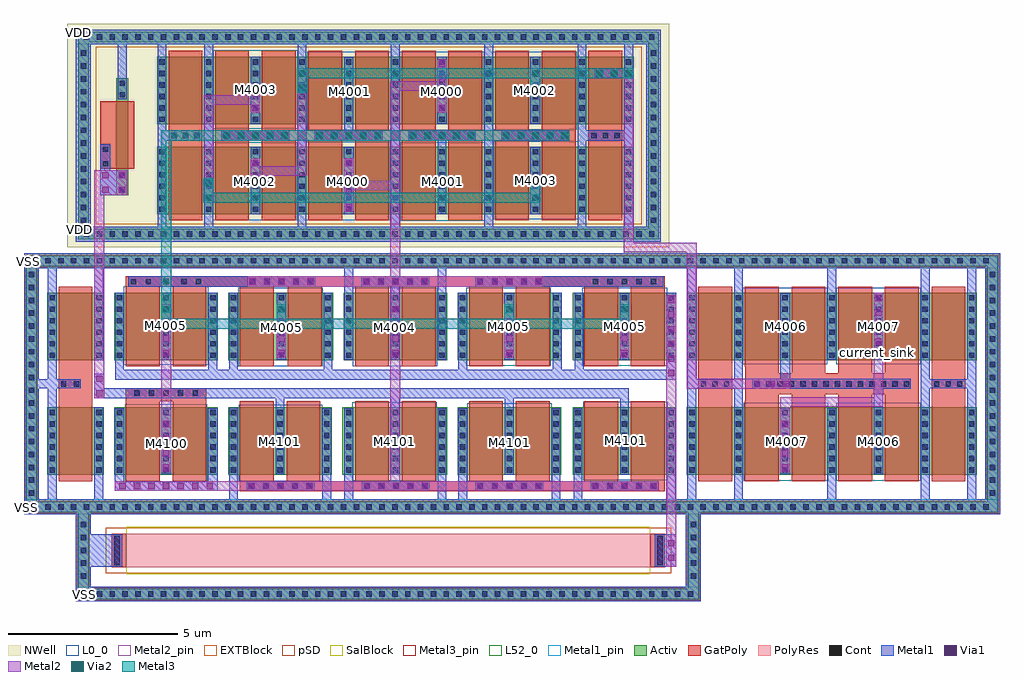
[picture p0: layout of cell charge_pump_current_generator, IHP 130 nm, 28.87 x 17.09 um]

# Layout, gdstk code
from math import pi, radians
import gdstk
lib = gdstk.Library(unit=1e-6, precision=1e-09)
def R(c, l, rs):  # rectangles x0, y0, x1, y1
    for r in rs: c.add(gdstk.rectangle(r[:2], r[2:], *l))
def A(c, l, x, y, w, h, nx, ny, dx, dy):  # array of equal rectangles
    R(c, l, [(x+i*dx, y+j*dy, x+i*dx+w, y+j*dy+h) for i in range(nx) for j in range(ny)])
def P(c, l, *ps):  # polygons
    for p in ps: c.add(gdstk.Polygon(p, *l))
L0_0 = (0, 0)
Activ = (1, 0)
GatPoly = (5, 0)
Cont = (6, 0)
Metal1 = (8, 0)
Metal1_pin = (8, 2)
Metal2 = (10, 0)
Metal2_pin = (10, 2)
pSD = (14, 0)
Via1 = (19, 0)
SalBlock = (28, 0)
Via2 = (29, 0)
Metal3 = (30, 0)
Metal3_pin = (30, 2)
NWell = (31, 0)
L52_0 = (52, 0)
EXTBlock = (111, 0)
PolyRes = (128, 0)

rppd_2 = lib.new_cell('rppd$2')
R(rppd_2, GatPoly, [(0,-0.43,1,-0.2), (0,-0.2,1,0), (0,15.5,1,15.7), (0,15.7,1,15.93)])
R(rppd_2, Cont, [(0.07,-0.36,0.93,-0.2), (0.07,15.7,0.93,15.86)])
R(rppd_2, Metal1, [(0.02,-0.43,0.98,-0.13), (0.02,15.63,0.98,15.93)])
R(rppd_2, Metal1_pin, [(0.02,-0.43,0.98,-0.13), (0.02,15.63,0.98,15.93)])
R(rppd_2, pSD, [(-0.18,-0.61,1.18,0), (-0.18,0,1.18,15.5), (-0.18,15.5,1.18,16.11)])
R(rppd_2, SalBlock, [(-0.2,0,1.2,15.5)])
R(rppd_2, L52_0, [(0,0,1,15.5)])
R(rppd_2, EXTBlock, [(-0.18,-0.61,1.18,0), (-0.2,0,1.2,15.5), (-0.18,15.5,1.18,16.11)])
R(rppd_2, PolyRes, [(0,0,1,15.5)])
rppd_2.add(gdstk.Label('rppd r=4075.964', (0.5,7.75), layer=63, texttype=0))
rppd_2.add(gdstk.Label('rppd', (0.5,7.75), layer=52, texttype=0))

charge_pump_current_gene = lib.new_cell('charge_pump_current_generator')
R(charge_pump_current_gene, L0_0, [(-0.94,0.29,1.49,2.605), (9.18,0.32,11.68,2.635), (2.41,0.33,4.88,2.59), (17.35,0.335,19.85,2.65), (5.78,0.34,8.28,2.655), (20.095,0.345,22.595,2.65), (12.605,0.36,15.105,2.675), (2.405,3.725,4.905,6.04), (5.795,3.73,8.295,6.045), (9.145,3.735,11.645,6.05), (12.58,3.735,15.095,6.05), (-0.98,3.775,1.52,6.09), (-0.98,3.775,1.52,6.09), (20.095,3.78,22.595,6.05), (17.33,3.79,19.83,6.05), (7.19,8.03,9.69,10.345), (1.65,8.04,4.15,10.355), (4.4,8.05,6.9,10.365), (9.965,8.07,12.465,10.385), (4.44,10.71,6.94,13.025), (7.175,10.71,9.675,13.025), (9.915,10.715,12.415,13.03), (1.66,10.755,4.16,13.07)])
R(charge_pump_current_gene, Activ, [(-3.25,0.51,-1.57,2.51), (-1.26,0.51,1.8,2.51), (2.11,0.51,5.17,2.51), (5.48,0.51,8.58,2.51), (8.89,0.51,11.95,2.51), (12.3,0.51,15.36,2.51), (15.67,0.51,24.25,2.51), (-3.25,3.9,-1.57,5.9), (-1.26,3.9,1.8,5.9), (2.11,3.9,5.21,5.9), (5.52,3.9,8.58,5.9), (8.89,3.9,11.95,5.9), (12.3,3.9,15.36,5.9), (15.67,3.9,24.25,5.9), (0,8.22,14.1,10.22), (-1.21,8.78,-0.85,12.245), (0,10.88,14.1,12.88)])
P(charge_pump_current_gene, Activ, [(-2.335,-3.165),(-2.335,-0.59),(-2.025,-0.59),(-2.025,-2.855),(15.71,-2.855),(15.71,-0.59),(-3.87,-0.59),(-3.87,6.69),(-3.56,6.69),(-3.56,-0.28),(24.56,-0.28),(24.56,6.69),(-3.87,6.69),(-3.87,7),(24.87,7),(24.87,-0.59),(16.02,-0.59),(16.02,-3.165)],
  [(-2.335,7.48),(-2.335,13.31),(-2.025,13.31),(-2.025,7.79),(14.53,7.79),(14.53,13.31),(-2.335,13.31),(-2.335,13.62),(14.84,13.62),(14.84,7.48)])
A(charge_pump_current_gene, GatPoly, 1.72, 8.04, 1, 2.36, 4, 1, 1.38, 0)
A(charge_pump_current_gene, GatPoly, 5.86, 8.04, 1, 2.36, 5, 1, 1.38, 0)
A(charge_pump_current_gene, GatPoly, 1.72, 10.7, 1, 2.36, 8, 1, 1.38, 0)
R(charge_pump_current_gene, GatPoly, [(-2.91,0.33,-1.91,6.08), (16.01,0.33,17.01,6.08), (22.91,0.33,23.91,6.08), (0.34,8.04,1.34,13.06), (12.76,8.04,13.76,13.06), (-1.68,9.565,-0.67,11.565), (1.72,10.4,12.38,10.7)])
P(charge_pump_current_gene, GatPoly, [(17.39,0.33),(17.39,2.69),(17.395,2.69),(17.395,3.72),(17.39,3.72),(17.39,6.08),(18.39,6.08),(18.39,3.52),(18.77,3.52),(18.77,6.08),(19.77,6.08),(19.77,3.52),(20.15,3.52),(20.15,6.08),(21.15,6.08),(21.15,3.52),(21.53,3.52),(21.53,6.08),(22.53,6.08),(22.53,0.33),(21.53,0.33),(21.53,2.89),(21.15,2.89),(21.15,0.33),(20.15,0.33),(20.15,2.89),(19.77,2.89),(19.77,0.33),(18.77,0.33),(18.77,2.89),(18.39,2.89),(18.39,0.33)],
  [(-0.92,3.72),(-0.92,6.38),(15.02,6.38),(15.02,3.72),(14.02,3.72),(14.02,6.08),(13.64,6.08),(13.64,3.72),(12.64,3.72),(12.64,6.08),(11.61,6.08),(11.61,3.72),(10.61,3.72),(10.61,6.08),(10.23,6.08),(10.23,3.72),(9.23,3.72),(9.23,6.08),(8.24,6.08),(8.24,3.72),(7.24,3.72),(7.24,6.08),(6.86,6.08),(6.86,3.72),(5.86,3.72),(5.86,6.08),(4.87,6.08),(4.87,3.72),(3.87,3.72),(3.87,6.08),(3.45,6.08),(3.45,3.72),(2.45,3.72),(2.45,6.08),(1.46,6.08),(1.46,3.72),(0.46,3.72),(0.46,6.08),(0.08,6.08),(0.08,3.72)],
  [(2.45,0.03),(2.45,2.69),(3.45,2.69),(3.45,0.33),(3.83,0.33),(3.83,2.69),(4.83,2.69),(4.83,0.33),(5.86,0.33),(5.86,2.69),(6.86,2.69),(6.86,0.33),(7.24,0.33),(7.24,2.69),(8.24,2.69),(8.24,0.33),(9.23,0.33),(9.23,2.69),(10.23,2.69),(10.23,0.33),(10.61,0.33),(10.61,2.69),(11.61,2.69),(11.61,0.33),(12.64,0.33),(12.64,2.69),(13.64,2.69),(13.64,0.33),(14.02,0.33),(14.02,2.69),(15.02,2.69),(15.02,0.03)],
  [(-0.92,0.33),(-0.92,3.08),(1.46,3.08),(1.46,0.33),(0.46,0.33),(0.46,2.685),(0.08,2.685),(0.08,0.33)])
A(charge_pump_current_gene, Cont, -2.165, -3.09, 0.16, 0.16, 48, 1, 0.38, 0)
A(charge_pump_current_gene, Cont, -2.26, -2.56, 0.16, 0.16, 1, 5, 0, 0.38)
A(charge_pump_current_gene, Cont, 15.785, -2.56, 0.16, 0.16, 1, 5, 0, 0.38)
A(charge_pump_current_gene, Cont, -3.685, -0.515, 0.16, 0.16, 75, 2, 0.38, 7.28)
A(charge_pump_current_gene, Cont, -3.795, -0.105, 0.16, 0.16, 1, 18, 0, 0.38)
A(charge_pump_current_gene, Cont, 24.635, -0.105, 0.16, 0.16, 1, 18, 0, 0.38)
A(charge_pump_current_gene, Cont, 2.715, 0.1, 0.16, 0.16, 5, 1, 0.43, 0)
A(charge_pump_current_gene, Cont, 6.125, 0.1, 0.16, 0.16, 5, 1, 0.43, 0)
A(charge_pump_current_gene, Cont, 9.48, 0.1, 0.16, 0.16, 5, 2, 0.43, 6.05)
A(charge_pump_current_gene, Cont, 12.89, 0.1, 0.16, 0.16, 5, 2, 0.43, 6.05)
A(charge_pump_current_gene, Cont, -3.18, 0.58, 0.16, 0.16, 1, 6, 0, 0.34)
A(charge_pump_current_gene, Cont, -1.19, 0.58, 0.16, 0.16, 3, 6, 1.38, 0.34)
A(charge_pump_current_gene, Cont, 2.18, 0.58, 0.16, 0.16, 3, 6, 1.38, 0.34)
A(charge_pump_current_gene, Cont, 5.59, 0.58, 0.16, 0.16, 3, 6, 1.38, 0.34)
A(charge_pump_current_gene, Cont, 8.96, 0.58, 0.16, 0.16, 3, 6, 1.38, 0.34)
A(charge_pump_current_gene, Cont, 12.37, 0.58, 0.16, 0.16, 3, 6, 1.38, 0.34)
A(charge_pump_current_gene, Cont, 15.74, 0.58, 0.16, 0.16, 7, 6, 1.38, 0.34)
A(charge_pump_current_gene, Cont, -0.67, 2.85, 0.16, 0.16, 5, 1, 0.43, 0)
A(charge_pump_current_gene, Cont, 16.085, 3.125, 0.16, 0.16, 3, 1, 0.34, 0)
A(charge_pump_current_gene, Cont, 22.985, 3.125, 0.16, 0.16, 3, 1, 0.34, 0)
A(charge_pump_current_gene, Cont, -3.18, 3.97, 0.16, 0.16, 1, 6, 0, 0.34)
A(charge_pump_current_gene, Cont, -1.19, 3.97, 0.16, 0.16, 3, 6, 1.38, 0.34)
A(charge_pump_current_gene, Cont, 2.18, 3.97, 0.16, 0.16, 1, 6, 0, 0.34)
A(charge_pump_current_gene, Cont, 3.6, 3.97, 0.16, 0.16, 1, 6, 0, 0.34)
A(charge_pump_current_gene, Cont, 4.98, 3.97, 0.16, 0.16, 1, 6, 0, 0.34)
A(charge_pump_current_gene, Cont, 5.59, 3.97, 0.16, 0.16, 3, 6, 1.38, 0.34)
A(charge_pump_current_gene, Cont, 8.96, 3.97, 0.16, 0.16, 3, 6, 1.38, 0.34)
A(charge_pump_current_gene, Cont, 12.37, 3.97, 0.16, 0.16, 3, 6, 1.38, 0.34)
A(charge_pump_current_gene, Cont, 15.13, 3.97, 0.16, 0.16, 1, 6, 0, 0.34)
A(charge_pump_current_gene, Cont, 15.74, 3.97, 0.16, 0.16, 1, 6, 0, 0.34)
A(charge_pump_current_gene, Cont, 17.12, 3.97, 0.16, 0.16, 1, 6, 0, 0.34)
A(charge_pump_current_gene, Cont, 17.12, 3.97, 0.16, 0.16, 6, 6, 1.38, 0.34)
A(charge_pump_current_gene, Cont, 2.74, 6.15, 0.16, 0.16, 5, 1, 0.43, 0)
A(charge_pump_current_gene, Cont, 6.11, 6.15, 0.16, 0.16, 5, 1, 0.43, 0)
A(charge_pump_current_gene, Cont, -2.165, 7.555, 0.16, 0.16, 45, 2, 0.38, 5.835)
A(charge_pump_current_gene, Cont, -2.26, 7.965, 0.16, 0.16, 1, 14, 0, 0.38)
A(charge_pump_current_gene, Cont, 14.605, 7.965, 0.16, 0.16, 1, 14, 0, 0.38)
A(charge_pump_current_gene, Cont, 0.07, 8.29, 0.16, 0.16, 11, 6, 1.38, 0.34)
A(charge_pump_current_gene, Cont, 0.42, 10.47, 0.16, 0.16, 3, 1, 0.34, 0)
A(charge_pump_current_gene, Cont, 1.97, 10.47, 0.16, 0.16, 5, 1, 0.43, 0)
A(charge_pump_current_gene, Cont, 4.73, 10.47, 0.16, 0.16, 5, 1, 0.43, 0)
A(charge_pump_current_gene, Cont, 7.49, 10.47, 0.16, 0.16, 5, 1, 0.43, 0)
A(charge_pump_current_gene, Cont, 10.25, 10.47, 0.16, 0.16, 5, 1, 0.43, 0)
A(charge_pump_current_gene, Cont, 12.84, 10.47, 0.16, 0.16, 3, 1, 0.34, 0)
A(charge_pump_current_gene, Cont, 0.07, 10.95, 0.16, 0.16, 11, 6, 1.38, 0.34)
R(charge_pump_current_gene, Cont, [(-1.8,0.58,-1.64,0.74), (-1.8,0.58,-1.64,0.74), (-1.8,0.92,-1.64,1.08), (-1.8,0.92,-1.64,1.08), (-1.8,1.26,-1.64,1.42), (-1.8,1.26,-1.64,1.42), (-1.8,1.6,-1.64,1.76), (-1.8,1.6,-1.64,1.76), (-1.8,1.94,-1.64,2.1), (-1.8,1.94,-1.64,2.1), (-1.8,2.28,-1.64,2.44), (-1.8,2.28,-1.64,2.44), (-2.84,3.125,-2.68,3.285), (-2.46,3.125,-2.3,3.285), (17.67,3.125,17.83,3.285), (17.67,3.125,17.83,3.285), (18.01,3.125,18.17,3.285), (18.01,3.125,18.17,3.285), (18.35,3.125,18.51,3.285), (18.35,3.125,18.51,3.285), (18.69,3.125,18.85,3.285), (18.69,3.125,18.85,3.285), (19.03,3.125,19.19,3.285), (19.03,3.125,19.19,3.285), (19.37,3.125,19.53,3.285), (19.37,3.125,19.53,3.285), (19.37,3.125,19.53,3.285), (19.71,3.125,19.87,3.285), (19.71,3.125,19.87,3.285), (20.05,3.125,20.21,3.285), (20.05,3.125,20.21,3.285), (20.39,3.125,20.55,3.285), (20.39,3.125,20.55,3.285), (20.73,3.125,20.89,3.285), (20.73,3.125,20.89,3.285), (20.73,3.125,20.89,3.285), (21.07,3.125,21.23,3.285), (21.07,3.125,21.23,3.285), (21.07,3.125,21.23,3.285), (21.41,3.125,21.57,3.285), (21.41,3.125,21.57,3.285), (21.75,3.125,21.91,3.285), (21.75,3.125,21.91,3.285), (21.75,3.125,21.91,3.285), (22.09,3.125,22.25,3.285), (22.09,3.125,22.25,3.285), (-1.8,3.97,-1.64,4.13), (-1.8,3.97,-1.64,4.13), (-1.8,4.31,-1.64,4.47), (-1.8,4.31,-1.64,4.47), (-1.8,4.65,-1.64,4.81), (-1.8,4.65,-1.64,4.81), (-1.8,4.99,-1.64,5.15), (-1.8,4.99,-1.64,5.15), (-1.8,5.33,-1.64,5.49), (-1.8,5.33,-1.64,5.49), (-1.8,5.67,-1.64,5.83), (-1.8,5.67,-1.64,5.83), (-0.77,6.145,-0.61,6.305), (-0.34,6.145,-0.18,6.305), (0.19,6.15,0.35,6.31), (0.72,6.15,0.88,6.31), (1.15,6.15,1.31,6.31), (-1.11,8.865,-0.95,9.025), (-1.11,9.295,-0.95,9.455), (-1.61,9.635,-1.45,9.795), (-1.61,10.065,-1.45,10.225), (-1.11,11.675,-0.95,11.835), (-1.11,12.015,-0.95,12.175)])
R(charge_pump_current_gene, Metal1, [(14.725,-2.205,15.355,-1.245), (2.65,0.035,4.66,0.325), (6.06,0.035,8.07,0.325), (9.415,0.035,11.425,0.325), (12.825,0.035,14.835,0.325), (0.125,0.53,0.415,2.49), (18.435,0.53,18.725,2.49), (10.275,3.91,10.565,5.88), (0.125,3.92,0.415,5.88), (3.535,3.92,3.825,5.88), (13.685,3.92,13.975,5.89), (21.195,3.92,21.485,5.895), (-0.855,6.08,4.685,6.38), (9.415,6.08,14.975,6.38), (2.765,8.22,3.055,10.2), (5.525,8.22,5.815,10.2), (11.045,8.22,11.335,10.2), (1.905,10.4,3.915,10.7), (10.185,10.4,12.195,10.7), (2.765,10.9,3.055,12.88), (8.285,10.9,8.575,12.88), (11.045,10.9,11.335,12.88)])
P(charge_pump_current_gene, Metal1, [(-2.4,-3.23),(-2.4,-0.655),(-1.96,-0.655),(-1.96,-1.245),(-1.035,-1.245),(-1.035,-2.205),(-1.96,-2.205),(-1.96,-2.79),(15.645,-2.79),(15.645,-0.655),(-3.935,-0.655),(-3.935,3.075),(-3.495,3.075),(-3.495,-0.215),(-3.23,-0.215),(-3.23,3.075),(-3.935,3.075),(-3.935,6.625),(-3.495,6.625),(-3.495,3.335),(-3.23,3.335),(-3.23,6.625),(8.56,6.625),(8.56,3.92),(8.3,3.92),(8.3,6.625),(5.8,6.625),(5.8,3.92),(5.54,3.92),(5.54,6.625),(-1.59,6.625),(-1.59,3.9),(-1.85,3.9),(-1.85,6.625),(-2.97,6.625),(-2.97,3.335),(-2.25,3.335),(-2.25,3.075),(-2.97,3.075),(-2.97,-0.215),(-1.85,-0.215),(-1.85,2.51),(-1.59,2.51),(-1.59,-0.215),(2.13,-0.215),(2.13,2.5),(2.39,2.5),(2.39,-0.215),(4.89,-0.215),(4.89,2.49),(5.15,2.49),(5.15,-0.215),(5.54,-0.215),(5.54,2.49),(5.8,2.49),(5.8,-0.215),(8.3,-0.215),(8.3,2.49),(8.56,2.49),(8.56,-0.215),(8.91,-0.215),(8.91,2.49),(9.17,2.49),(9.17,-0.215),(11.67,-0.215),(11.67,2.49),(11.93,2.49),(11.93,-0.215),(12.32,-0.215),(12.32,2.49),(12.58,2.49),(12.58,-0.215),(15.08,-0.215),(15.08,2.49),(15.34,2.49),(15.34,-0.215),(15.69,-0.215),(15.69,3.075),(15.95,3.075),(15.95,-0.215),(17.07,-0.215),(17.07,3.075),(15.69,3.075),(15.69,6.625),(15.95,6.625),(15.95,3.335),(17.07,3.335),(17.07,6.625),(20.09,6.625),(20.09,3.92),(19.83,3.92),(19.83,6.625),(17.33,6.625),(17.33,-0.215),(19.83,-0.215),(19.83,2.49),(20.09,2.49),(20.09,-0.215),(22.59,-0.215),(22.59,3.075),(22.85,3.075),(22.85,-0.215),(23.97,-0.215),(23.97,3.075),(22.59,3.075),(22.59,6.625),(22.85,6.625),(22.85,3.335),(23.97,3.335),(23.97,6.625),(24.23,6.625),(24.23,-0.215),(24.495,-0.215),(24.495,6.625),(-3.935,6.625),(-3.935,7.065),(24.935,7.065),(24.935,-0.655),(16.085,-0.655),(16.085,-3.23)],
  [(21.195,0.53),(21.195,3.06),(17.605,3.06),(17.605,3.35),(18.435,3.35),(18.435,5.88),(18.725,5.88),(18.725,3.35),(22.3,3.35),(22.3,3.06),(21.485,3.06),(21.485,0.53)],
  [(6.92,3.92),(6.92,6.08),(6.045,6.08),(6.045,6.38),(8.055,6.38),(8.055,6.08),(7.18,6.08),(7.18,3.92)],
  [(8.3,8.24),(8.3,10.4),(7.425,10.4),(7.425,10.7),(9.435,10.7),(9.435,10.4),(8.56,10.4),(8.56,8.24)],
  [(4.665,10.4),(4.665,10.7),(5.54,10.7),(5.54,12.86),(5.8,12.86),(5.8,10.7),(6.675,10.7),(6.675,10.4)],
  [(-1.255,0.035),(-1.255,2.49),(-0.965,2.49),(-0.965,0.325),(1.505,0.325),(1.505,2.49),(1.795,2.49),(1.795,0.035)],
  [(-2.4,7.415),(-2.4,13.245),(-0.9,13.245),(-0.9,11.625),(-1.16,11.625),(-1.16,13.245),(-1.96,13.245),(-1.96,7.855),(0.02,7.855),(0.02,10.4),(0.28,10.4),(0.28,7.855),(1.4,7.855),(1.4,10.4),(0.02,10.4),(0.02,13.245),(0.28,13.245),(0.28,10.7),(1.4,10.7),(1.4,13.245),(1.66,13.245),(1.66,7.855),(4.16,7.855),(4.16,13.245),(4.42,13.245),(4.42,7.855),(6.92,7.855),(6.92,13.245),(7.18,13.245),(7.18,7.855),(9.68,7.855),(9.68,13.245),(9.94,13.245),(9.94,7.855),(12.44,7.855),(12.44,10.4),(12.7,10.4),(12.7,7.855),(13.82,7.855),(13.82,10.4),(12.44,10.4),(12.44,13.245),(12.7,13.245),(12.7,10.7),(13.82,10.7),(13.82,13.245),(14.08,13.245),(14.08,7.855),(14.465,7.855),(14.465,13.245),(-2.4,13.245),(-2.4,13.685),(14.905,13.685),(14.905,7.415)],
  [(-1.675,8.78),(-1.675,10.29),(-1.385,10.29),(-1.385,9.52),(-0.885,9.52),(-0.885,8.78)],
  [(-1.24,3.33),(-1.24,5.9),(-0.98,5.9),(-0.98,3.62),(1.52,3.62),(1.52,5.9),(1.78,5.9),(1.78,3.62),(2.13,3.62),(2.13,5.9),(2.39,5.9),(2.39,3.62),(4.93,3.62),(4.93,5.9),(5.19,5.9),(5.19,3.62),(8.91,3.62),(8.91,5.9),(9.17,5.9),(9.17,3.62),(11.71,3.62),(11.71,5.9),(11.97,5.9),(11.97,3.62),(12.36,3.62),(12.36,5.9),(12.62,5.9),(12.62,3.62),(15.065,3.62),(15.065,5.9),(15.355,5.9),(15.355,3.33)],
  [(10.29,0.52),(10.29,2.78),(7.18,2.78),(7.18,0.53),(6.92,0.53),(6.92,2.78),(3.77,2.78),(3.77,0.53),(3.51,0.53),(3.51,2.78),(-1.85,2.78),(-1.85,3.5),(-1.56,3.5),(-1.56,3.08),(13.96,3.08),(13.96,0.52),(13.7,0.52),(13.7,2.78),(10.55,2.78),(10.55,0.52)])
R(charge_pump_current_gene, Metal1_pin, [(-2.4,-3.23,16.085,-2.79), (-3.935,-0.655,24.935,-0.215), (-3.935,6.625,24.935,7.065), (-2.4,7.415,14.905,7.855), (-2.4,13.245,14.905,13.685)])
A(charge_pump_current_gene, Metal2, 1.905, 10.4, 2.01, 0.3, 4, 1, 2.76, 0)
R(charge_pump_current_gene, Metal2, [(15.065,-2.205,15.355,5.825), (0.125,0.585,0.415,5.555), (3.535,3.975,3.825,5.555), (10.275,3.975,10.565,5.555), (13.685,3.975,13.975,5.555), (11.045,8.565,11.335,9.285), (11.045,11.815,11.335,12.535)])
P(charge_pump_current_gene, Metal2, [(15.675,3.06),(15.675,7.095),(13.805,7.095),(13.805,12.245),(12.945,12.245),(12.945,12.535),(14.095,12.535),(14.095,7.385),(15.965,7.385),(15.965,3.35),(18.75,3.35),(18.75,3.06)],
  [(18.435,0.585),(18.435,2.815),(21.195,2.815),(21.195,5.895),(21.485,5.895),(21.485,2.525),(18.725,2.525),(18.725,0.585)],
  [(2.765,9.155),(2.765,9.875),(3.055,9.875),(3.055,9.645),(4.145,9.645),(4.145,12.535),(4.435,12.535),(4.435,9.355),(3.055,9.355),(3.055,9.155)],
  [(1.385,8.565),(1.385,11.745),(2.765,11.745),(2.765,11.945),(3.055,11.945),(3.055,11.225),(2.765,11.225),(2.765,11.455),(1.675,11.455),(1.675,8.565)],
  [(-1.255,0.035),(-1.255,0.325),(6.905,0.325),(6.905,6.08),(2.675,6.08),(2.675,6.38),(6.905,6.38),(6.905,8.925),(5.815,8.925),(5.815,8.295),(5.525,8.295),(5.525,9.875),(5.815,9.875),(5.815,9.215),(6.905,9.215),(6.905,12.16),(8.285,12.16),(8.285,12.805),(8.575,12.805),(8.575,11.225),(8.285,11.225),(8.285,11.87),(7.195,11.87),(7.195,6.38),(11.425,6.38),(11.425,6.08),(7.195,6.08),(7.195,0.325),(14.835,0.325),(14.835,0.035)],
  [(-1.85,2.78),(-1.85,9.52),(-0.885,9.52),(-0.885,8.78),(-1.56,8.78),(-1.56,2.78)])
R(charge_pump_current_gene, Metal2_pin, [(21.195,3.025,21.485,4.745)])
R(charge_pump_current_gene, pSD, [(-1.82,7.92,14.335,13.18)])
P(charge_pump_current_gene, pSD, [(-2.365,-3.195),(-2.365,-0.62),(-1.995,-0.62),(-1.995,-2.825),(15.68,-2.825),(15.68,-0.62),(-3.9,-0.62),(-3.9,6.66),(-3.53,6.66),(-3.53,-0.25),(24.53,-0.25),(24.53,6.66),(-3.9,6.66),(-3.9,7.03),(24.9,7.03),(24.9,-0.62),(16.05,-0.62),(16.05,-3.195)])
A(charge_pump_current_gene, Via1, -0.685, 0.085, 0.19, 0.19, 6, 1, 0.43, 0)
A(charge_pump_current_gene, Via1, 2.7, 0.085, 0.19, 0.19, 5, 1, 0.43, 0)
A(charge_pump_current_gene, Via1, 6.11, 0.085, 0.19, 0.19, 5, 1, 0.43, 0)
A(charge_pump_current_gene, Via1, 9.465, 0.085, 0.19, 0.19, 5, 2, 0.43, 6.05)
A(charge_pump_current_gene, Via1, 12.875, 0.085, 0.19, 0.19, 5, 1, 0.43, 0)
A(charge_pump_current_gene, Via1, 0.175, 0.635, 0.19, 0.19, 1, 4, 0, 0.43)
A(charge_pump_current_gene, Via1, 18.485, 0.635, 0.19, 0.19, 1, 4, 0, 0.43)
A(charge_pump_current_gene, Via1, 15.115, 3.435, 0.19, 0.19, 1, 6, 0, 0.43)
A(charge_pump_current_gene, Via1, 0.175, 4.025, 0.19, 0.19, 1, 4, 0, 0.43)
A(charge_pump_current_gene, Via1, 3.585, 4.025, 0.19, 0.19, 3, 4, 3.37, 0.43)
A(charge_pump_current_gene, Via1, 13.735, 4.025, 0.19, 0.19, 1, 4, 0, 0.43)
A(charge_pump_current_gene, Via1, 21.245, 4.365, 0.19, 0.19, 1, 4, 0, 0.43)
A(charge_pump_current_gene, Via1, 2.725, 6.135, 0.19, 0.19, 5, 1, 0.43, 0)
A(charge_pump_current_gene, Via1, 6.095, 6.135, 0.19, 0.19, 5, 1, 0.43, 0)
A(charge_pump_current_gene, Via1, 5.575, 8.345, 0.19, 0.19, 1, 4, 0, 0.43)
A(charge_pump_current_gene, Via1, 1.955, 10.455, 0.19, 0.19, 5, 1, 0.43, 0)
A(charge_pump_current_gene, Via1, 4.715, 10.455, 0.19, 0.19, 5, 1, 0.43, 0)
A(charge_pump_current_gene, Via1, 7.475, 10.455, 0.19, 0.19, 5, 1, 0.43, 0)
A(charge_pump_current_gene, Via1, 10.235, 10.455, 0.19, 0.19, 5, 1, 0.43, 0)
A(charge_pump_current_gene, Via1, 8.335, 11.275, 0.19, 0.19, 1, 4, 0, 0.43)
R(charge_pump_current_gene, Via1, [(15.115,-2.035,15.305,-1.845), (15.115,-1.605,15.305,-1.415), (-1.115,0.085,-0.925,0.275), (-0.685,0.085,-0.495,0.275), (-1.8,2.83,-1.61,3.02), (17.655,3.11,17.845,3.3), (18.08,3.11,18.27,3.3), (18.51,3.11,18.7,3.3), (-1.8,3.26,-1.61,3.45), (11.095,8.615,11.285,8.805), (-1.625,8.85,-1.435,9.04), (-1.125,8.85,-0.935,9.04), (11.095,9.045,11.285,9.235), (2.815,9.205,3.005,9.395), (-1.625,9.28,-1.435,9.47), (-1.125,9.28,-0.935,9.47), (2.815,9.635,3.005,9.825), (2.815,11.275,3.005,11.465), (2.815,11.705,3.005,11.895), (11.095,11.865,11.285,12.055), (11.095,12.295,11.285,12.485)])
A(charge_pump_current_gene, Via2, 1.955, 10.455, 0.19, 0.19, 5, 1, 0.43, 0)
A(charge_pump_current_gene, Via2, 4.715, 10.455, 0.19, 0.19, 5, 1, 0.43, 0)
A(charge_pump_current_gene, Via2, 7.475, 10.455, 0.19, 0.19, 5, 1, 0.43, 0)
A(charge_pump_current_gene, Via2, 10.235, 10.455, 0.19, 0.19, 5, 1, 0.43, 0)
A(charge_pump_current_gene, Via2, 12.995, 12.295, 0.19, 0.19, 3, 1, 0.43, 0)
R(charge_pump_current_gene, Via2, [(0.175,4.885,0.365,5.075), (3.585,4.885,3.775,5.075), (10.325,4.885,10.515,5.075), (13.735,4.885,13.925,5.075), (0.175,5.315,0.365,5.505), (3.585,5.315,3.775,5.505), (10.325,5.315,10.515,5.505), (13.735,5.315,13.925,5.505), (1.435,8.615,1.625,8.805), (11.095,8.615,11.285,8.805), (1.435,9.045,1.625,9.235), (11.095,9.045,11.285,9.235), (4.195,11.865,4.385,12.055), (11.095,11.865,11.285,12.055), (4.195,12.295,4.385,12.485), (11.095,12.295,11.285,12.485)])
P(charge_pump_current_gene, Metal3, [(4.145,11.815),(4.145,12.535),(14.095,12.535),(14.095,12.245),(11.335,12.245),(11.335,11.815),(11.045,11.815),(11.045,12.245),(4.435,12.245),(4.435,11.815)],
  [(1.385,8.565),(1.385,9.285),(1.675,9.285),(1.675,8.855),(11.045,8.855),(11.045,9.285),(11.335,9.285),(11.335,8.565)],
  [(0.125,4.835),(0.125,10.7),(12.195,10.7),(12.195,10.4),(0.415,10.4),(0.415,5.125),(3.535,5.125),(3.535,5.555),(3.825,5.555),(3.825,5.125),(10.275,5.125),(10.275,5.555),(10.565,5.555),(10.565,5.125),(13.685,5.125),(13.685,5.555),(13.975,5.555),(13.975,4.835)])
R(charge_pump_current_gene, Metal3_pin, [(11.045,8.565,11.335,9.285)])
R(charge_pump_current_gene, NWell, [(-2.65,7.24,15.15,13.86)])
charge_pump_current_gene.add(gdstk.Reference(rppd_2, (-0.905,-1.225), rotation=3*pi/2))
charge_pump_current_gene.add(gdstk.Label('M4005', (13.84,4.89), layer=0, texttype=0))
charge_pump_current_gene.add(gdstk.Label('M4005', (10.385,4.89), layer=0, texttype=0))
charge_pump_current_gene.add(gdstk.Label('M4101', (3.62,1.485), layer=0, texttype=0))
charge_pump_current_gene.add(gdstk.Label('M4101', (7.025,1.485), layer=0, texttype=0))
charge_pump_current_gene.add(gdstk.Label('M4101', (13.845,1.515), layer=0, texttype=0))
charge_pump_current_gene.add(gdstk.Label('M4101', (10.42,1.475), layer=0, texttype=0))
charge_pump_current_gene.add(gdstk.Label('M4100', (0.29,1.445), layer=0, texttype=0))
charge_pump_current_gene.add(gdstk.Label('M4005', (0.26,4.93), layer=0, texttype=0))
charge_pump_current_gene.add(gdstk.Label('M4005', (3.69,4.885), layer=0, texttype=0))
charge_pump_current_gene.add(gdstk.Label('M4004', (7.035,4.885), layer=0, texttype=0))
charge_pump_current_gene.add(gdstk.Label('M4006', (18.59,4.89), layer=0, texttype=0))
charge_pump_current_gene.add(gdstk.Label('M4007', (18.61,1.49), layer=0, texttype=0))
charge_pump_current_gene.add(gdstk.Label('M4007', (21.355,4.89), layer=0, texttype=0))
charge_pump_current_gene.add(gdstk.Label('M4006', (21.335,1.49), layer=0, texttype=0))
charge_pump_current_gene.add(gdstk.Label('M4000', (8.415,11.865), layer=0, texttype=0))
charge_pump_current_gene.add(gdstk.Label('M4002', (11.155,11.87), layer=0, texttype=0))
charge_pump_current_gene.add(gdstk.Label('M4002', (2.89,9.195), layer=0, texttype=0))
charge_pump_current_gene.add(gdstk.Label('M4001', (8.43,9.185), layer=0, texttype=0))
charge_pump_current_gene.add(gdstk.Label('M4003', (2.9,11.91), layer=0, texttype=0))
charge_pump_current_gene.add(gdstk.Label('M4003', (11.205,9.225), layer=0, texttype=0))
charge_pump_current_gene.add(gdstk.Label('M4001', (5.68,11.865), layer=0, texttype=0))
charge_pump_current_gene.add(gdstk.Label('M4000', (5.645,9.195), layer=0, texttype=0))
charge_pump_current_gene.add(gdstk.Label('VDD', (-2.335,13.61), layer=8, texttype=25))
charge_pump_current_gene.add(gdstk.Label('VDD', (-2.305,7.765), layer=8, texttype=25))
charge_pump_current_gene.add(gdstk.Label('VSS', (-2.16,-3.04), layer=8, texttype=25))
charge_pump_current_gene.add(gdstk.Label('VSS', (-3.875,-0.455), layer=8, texttype=25))
charge_pump_current_gene.add(gdstk.Label('VSS', (-3.795,6.835), layer=8, texttype=25))
charge_pump_current_gene.add(gdstk.Label('current_source', (11.17,8.91), layer=30, texttype=25))
charge_pump_current_gene.add(gdstk.Label('current_sink', (21.325,4.13), layer=10, texttype=25))

lib.write_gds('charge_pump_current_generator.gds')
